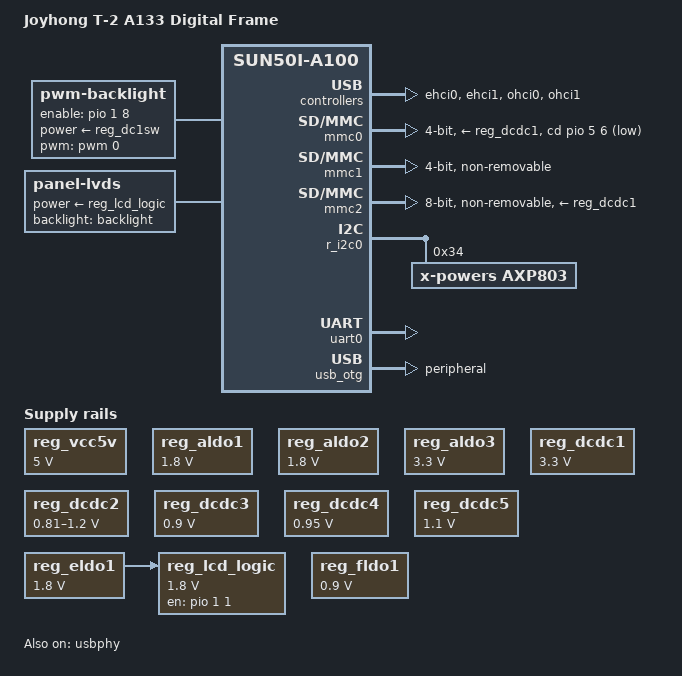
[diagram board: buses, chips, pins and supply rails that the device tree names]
// SPDX-License-Identifier: (GPL-2.0+ OR MIT)
/*
 * Joyhong T-2 / ceres-aw Allwinner A133 digital frame.
 *
 * First-pass mainline-style DTS reconstructed from the factory Android
 * Linux 4.9 live device tree captured on 2026-08-10.
 *
 * This intentionally starts from the public mainline Liontron H-A133L shape:
 * A133 currently reuses sun50i-a100.dtsi in mainline. The panel node below
 * uses modern panel-lvds bindings, but full display output still depends on
 * A100/A133 display engine, TCON/LVDS, and PWM nodes being present in the
 * target kernel tree.
 */

/dts-v1/;

#include "sun50i-a100.dtsi"
#include "sun50i-a100-cpu-opp.dtsi"

#include <dt-bindings/gpio/gpio.h>
#include <dt-bindings/interrupt-controller/irq.h>

/ {
	model = "Joyhong T-2 A133 Digital Frame";
	compatible = "joyhong,t2-a133", "allwinner,sun50i-a100";

	aliases {
		serial0 = &uart0;
	};

	chosen {
		stdout-path = "serial0:115200n8";

		/*
		 * Android bootargs expose:
		 *   disp_reserve=8294400,0xbbf4c080
		 *
		 * 8294400 bytes is exactly 1920 * 1080 * 4. If a prior
		 * bootloader/kernel leaves the display engine and LVDS pipeline
		 * running, this gives mainline Linux a simplefb console path.
		 */
		framebuffer0: framebuffer@bbf4c080 {
			compatible = "simple-framebuffer";
			reg = <0x0 0xbbf4c080 0x0 0x7e9000>;
			width = <1920>;
			height = <1080>;
			stride = <7680>;
			format = "x8r8g8b8";
			status = "okay";
		};
	};

	reserved-memory {
		#address-cells = <2>;
		#size-cells = <2>;
		ranges;

		framebuffer@bbf4c080 {
			reg = <0x0 0xbbf4c080 0x0 0x7e9000>;
			no-map;
		};
	};

	reg_vcc5v: regulator-vcc5v {
		compatible = "regulator-fixed";
		regulator-name = "vcc-5v";
		regulator-min-microvolt = <5000000>;
		regulator-max-microvolt = <5000000>;
		regulator-always-on;
	};

	reg_lcd_logic: regulator-lcd-logic {
		compatible = "regulator-fixed";
		regulator-name = "vcc-lcd-logic";
		regulator-min-microvolt = <1800000>;
		regulator-max-microvolt = <1800000>;
		vin-supply = <&reg_eldo1>;
		enable-active-high;
		gpio = <&pio 1 1 GPIO_ACTIVE_HIGH>; /* PB1, factory lcd_gpio_0 */
	};

	backlight: backlight {
		compatible = "pwm-backlight";
		pwms = <&pwm 0 20000 0>; /* factory lcd_pwm_ch=0, 50 kHz */
		brightness-levels = <0 16 32 64 96 128 160 192 224 255>;
		default-brightness-level = <9>;
		enable-gpios = <&pio 1 8 GPIO_ACTIVE_HIGH>; /* PB8, factory lcd_bl_en */
		power-supply = <&reg_dc1sw>;
	};

	panel: panel {
		compatible = "panel-lvds";
		width-mm = <260>;
		height-mm = <478>;
		backlight = <&backlight>;
		power-supply = <&reg_lcd_logic>;

		/*
		 * Factory LVDS fields:
		 *   lcd_lvds_if         = 1: dual-link LVDS, not data mapping
		 *   lcd_lvds_colordepth = 0: 8-bit / 24 bpp
		 *   lcd_lvds_mode       = 0: NS/VESA-style mapping
		 *
		 * If colors are swapped or washed out, try "jeida-24".
		 */
		data-mapping = "vesa-24";

		panel-timing {
			clock-frequency = <135000000>;
			hactive = <1920>;
			vactive = <1080>;

			/*
			 * Factory provided totals, not front porch:
			 *   lcd_hfp = lcd_ht - lcd_x - lcd_hbp - lcd_hspw
			 *           = 2108 - 1920 - 140 - 48 = 0
			 *   lcd_vfp = lcd_vt - lcd_y - lcd_vbp - lcd_vspw
			 *           = 1132 - 1080 - 41 - 10 = 1
			 */
			hback-porch = <140>;
			hfront-porch = <0>;
			hsync-len = <48>;
			vback-porch = <41>;
			vfront-porch = <1>;
			vsync-len = <10>;

			hsync-active = <0>;
			vsync-active = <0>;
			de-active = <1>;
			pixelclk-active = <0>;
		};

		port {
			panel_in: endpoint {
				/*
				 * Connect this to the A133 LVDS/TCON endpoint once
				 * the target kernel tree has those display nodes.
				 */
			};
		};
	};
};

&cpu0 {
	cpu-supply = <&reg_dcdc2>;
};

&ehci0 {
	status = "okay";
};

&ehci1 {
	status = "okay";
};

&mmc0 {
	vmmc-supply = <&reg_dcdc1>;
	vqmmc-supply = <&reg_dcdc1>;
	cd-gpios = <&pio 5 6 GPIO_ACTIVE_LOW>; /* PF6 */
	bus-width = <4>;
	status = "okay";
};

&mmc1 {
	bus-width = <4>;
	non-removable;
	keep-power-in-suspend;
	cap-sdio-irq;
	status = "okay";
};

&mmc2 {
	vmmc-supply = <&reg_dcdc1>;
	vqmmc-supply = <&reg_eldo1>;
	cap-mmc-hw-reset;
	non-removable;
	bus-width = <8>;
	mmc-ddr-1_8v;
	mmc-hs200-1_8v;
	status = "okay";
};

&ohci0 {
	status = "okay";
};

&ohci1 {
	status = "okay";
};

&pio {
	vcc-pb-supply = <&reg_dcdc1>;
	vcc-pc-supply = <&reg_eldo1>;
	vcc-pd-supply = <&reg_eldo1>;
	vcc-pf-supply = <&reg_dcdc1>;
	vcc-pg-supply = <&reg_dcdc1>;
	vcc-ph-supply = <&reg_dcdc1>;
	vcc-pj-supply = <&reg_eldo1>;
};

&r_i2c0 {
	status = "okay";

	axp803: pmic@34 {
		compatible = "x-powers,axp803";
		reg = <0x34>;
		interrupt-parent = <&r_intc>;
		interrupts = <0 IRQ_TYPE_LEVEL_LOW>;
	};
};

#include "axp803.dtsi"

&ac_power_supply {
	status = "okay";
};

&reg_aldo1 {
	regulator-always-on;
	regulator-min-microvolt = <1800000>;
	regulator-max-microvolt = <1800000>;
	regulator-name = "vcc-codec-avcc";
};

&reg_aldo2 {
	regulator-always-on;
	regulator-min-microvolt = <1800000>;
	regulator-max-microvolt = <1800000>;
	regulator-name = "vcc-dram-1";
};

&reg_aldo3 {
	regulator-always-on;
	regulator-min-microvolt = <3300000>;
	regulator-max-microvolt = <3300000>;
	regulator-name = "vcc-usb-pl";
};

&reg_dc1sw {
	regulator-name = "vcc-lcd";
};

&reg_dcdc1 {
	regulator-always-on;
	regulator-min-microvolt = <3300000>;
	regulator-max-microvolt = <3300000>;
	regulator-name = "vcc-io-usb-pd-emmc";
};

&reg_dcdc2 {
	regulator-always-on;
	regulator-min-microvolt = <810000>;
	regulator-max-microvolt = <1200000>;
	regulator-name = "vdd-cpux";
};

&reg_dcdc3 {
	regulator-always-on;
	regulator-min-microvolt = <900000>;
	regulator-max-microvolt = <900000>;
	regulator-name = "vdd-usb-cpus";
};

&reg_dcdc4 {
	regulator-always-on;
	regulator-min-microvolt = <950000>;
	regulator-max-microvolt = <950000>;
	regulator-name = "vdd-sys";
};

&reg_dcdc5 {
	regulator-always-on;
	regulator-min-microvolt = <1100000>;
	regulator-max-microvolt = <1100000>;
	regulator-name = "vcc-dram";
};

&reg_eldo1 {
	regulator-min-microvolt = <1800000>;
	regulator-max-microvolt = <1800000>;
	regulator-name = "vcc-pc-pd-pj-emmc-lvds";
};

&reg_fldo1 {
	regulator-always-on;
	regulator-min-microvolt = <900000>;
	regulator-max-microvolt = <900000>;
	regulator-name = "vdd-cpus-usb";
};

&uart0 {
	pinctrl-names = "default";
	pinctrl-0 = <&uart0_pb_pins>;
	status = "okay";
};

&usb_otg {
	dr_mode = "peripheral";
	status = "okay";
};

&usbphy {
	usb1_vbus-supply = <&reg_vcc5v>;
	status = "okay";
};
